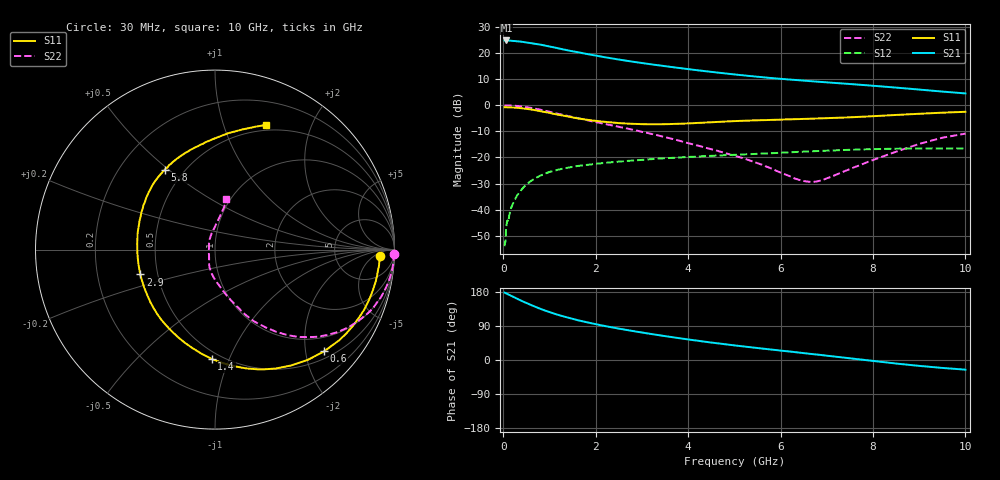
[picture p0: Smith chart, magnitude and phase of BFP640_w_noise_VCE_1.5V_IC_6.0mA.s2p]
! Infineon Technologies  Discrete & RF Semiconductors
! BFP640
! VCE =  1.5 V,  IC =  6.0 mA
! Common Emitter S-Parameters:  Apr 2013
# GHz  S  MA  R  50
!  f  S11  S21  S12  S22
! GHz  MAG  ANG  MAG  ANG  MAG  ANG  MAG  ANG
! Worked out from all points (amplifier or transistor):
!   99 points, 30 MHz to 10 GHz, reference 50 ohm
!   highest |S21| = 24.8 dB at 70 MHz (marker M1)
!   |S21| within 3 dB of that: start of sweep to 1.187 GHz
!   unconditionally stable (mu >= 1): 4.806 GHz to end of sweep
!   at 350 MHz: K = 0.08, MSG = 28.9 dB, |S12| = -33.4 dB
!   at 3.5 GHz: K = 0.87, MSG = 17.6 dB, |S12| = -20.3 dB
!   at 10 GHz: K = 1.13, MAG = 8.3 dB, |S12| = -16.5 dB
!   lowest NFmin = 0.56 dB at 450 MHz
!   S11 on the Smith chart (normalised r, x): 30 MHz: 20, -9; 600 MHz: 0.65, -2.39; 1.4 GHz: 0.45, -0.87; 2.9 GHz: 0.40, -0.14; 5.8 GHz: 0.39, +0.48; 10 GHz: 0.44, +1.40
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0.03  0.9191 -2.2  17.35 177.8  0.002 86.9  0.9972 -1.3
0.05  0.919 -3.6  17.46 176.8  0.0024 90.6  0.9966 -2.2
0.07  0.9179 -5.2  17.48 175.5  0.0049 94.0  0.9972 -3.1
0.15  0.9134 -11.0  17.33 170.7  0.0097 85.1  0.992 -7.0
0.35  0.8867 -25.5  16.7 158.8  0.0215 77.5  0.9615 -16.1
0.45  0.8678 -32.6  16.28 153.1  0.0275 74.1  0.9386 -20.4
0.6  0.8312 -43.0  15.52 145.2  0.0356 68.0  0.8922 -26.5
0.8  0.7727 -56.6  14.55 135.2  0.0448 61.1  0.8247 -33.8
0.9  0.7437 -63.0  13.99 130.7  0.049 58.1  0.7876 -37.1
1.1  0.6843 -75.3  12.88 122.4  0.0558 52.5  0.7164 -42.9
1.4  0.6094 -91.7  11.29 111.9  0.0639 46.2  0.6243 -49.7
1.7  0.5467 -107.6  10.05 102.6  0.0703 41.4  0.5451 -54.9
2.1  0.4928 -127.2  8.655 92.0  0.0772 36.1  0.4578 -61.2
2.3  0.4728 -136.2  8.061 87.3  0.0804 34.0  0.4217 -63.5
2.9  0.4389 -161.6  6.653 74.5  0.0887 28.7  0.3265 -69.9
3.4  0.4333 178.6  5.782 64.9  0.0956 24.9  0.2579 -76.3
4.1  0.4535 156.1  4.82 52.6  0.1033 19.5  0.1792 -87.5
5.1  0.5017 133.4  3.824 37.2  0.1135 13.0  0.1025 -107.4
5.8  0.5249 122.4  3.332 27.5  0.1207 8.9  0.0616 -122.4
6.7  0.5558 110.1  2.88 15.5  0.1317 2.9  0.0339 174.5
8.5  0.6534 83.4  2.184 -9.3  0.1475 -11.7  0.1292 89.8
10  0.7508 67.7  1.69 -25.5  0.1495 -21.4  0.2866 77.1
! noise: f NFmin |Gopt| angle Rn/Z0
0.45  0.56  0.4  11  0.09
0.9  0.58  0.4  20  0.09
1.5  0.6  0.35  32  0.09
1.9  0.63  0.3  50  0.09
2.4  0.69  0.27  58  0.09
3.5  0.83  0.22  81  0.09
5.5  1.09  0.26  -150  0.11
10  1.75  0.61  -63  0.42
